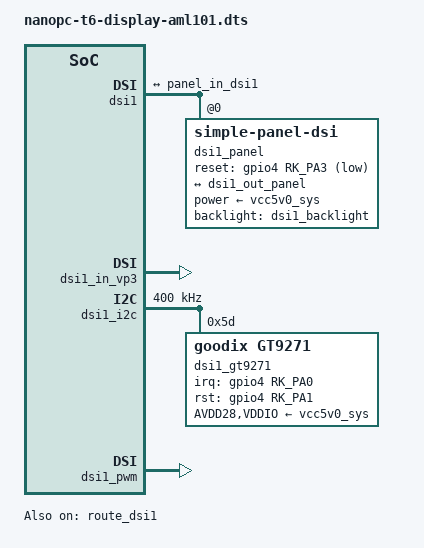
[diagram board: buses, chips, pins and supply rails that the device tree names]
/dts-v1/;
/plugin/;

#include <dt-bindings/interrupt-controller/irq.h>
#include <dt-bindings/gpio/gpio.h>
#include <dt-bindings/pinctrl/rockchip.h>
#include <dt-bindings/display/drm_mipi_dsi.h>

/ {
	metadata {
		title = "Enable AML101FD LCD Panel on DSI1";
		compatible = "friendlyelec,nanopc-t6";
		category = "display";
		description = "Enable AML101FD LCD Panel on DSI1";
	};

    fragment@0 {
		target = "/";

        __overlay__ {
            dsi1_backlight: dsi1-backlight {
                compatible = "pwm-backlight";
                brightness-levels = <
                    0  20  20  21  21  22  22  23
                    23  24  24  25  25  26  26  27
                    27  28  28  29  29  30  30  31
                    31  32  32  33  33  34  34  35
                    35  36  36  37  37  38  38  39
                    40  41  42  43  44  45  46  47
                    48  49  50  51  52  53  54  55
                    56  57  58  59  60  61  62  63
                    64  65  66  67  68  69  70  71
                    72  73  74  75  76  77  78  79
                    80  81  82  83  84  85  86  87
                    88  89  90  91  92  93  94  95
                    96  97  98  99 100 101 102 103
                    104 105 106 107 108 109 110 111
                    112 113 114 115 116 117 118 119
                    120 121 122 123 124 125 126 127
                    128 129 130 131 132 133 134 135
                    136 137 138 139 140 141 142 143
                    144 145 146 147 148 149 150 151
                    152 153 154 155 156 157 158 159
                    160 161 162 163 164 165 166 167
                    168 169 170 171 172 173 174 175
                    176 177 178 179 180 181 182 183
                    184 185 186 187 188 189 190 191
                    192 193 194 195 196 197 198 199
                    200 201 202 203 204 205 206 207
                    208 209 210 211 212 213 214 215
                    216 217 218 219 220 221 222 223
                    224 225 226 227 228 229 230 231
                    232 233 234 235 236 237 238 239
                    240 241 242 243 244 245 246 247
                    248 249 250 251 252 253 254 255
                >;
                default-brightness-level = <200>;
                power-supply = <&vcc5v0_sys>;
                pwms = <&dsi1_pwm 0 12000 0>;
                status = "okay";
            };
        };
    };

    fragment@1 {
		target = <&dsi1>;

		__overlay__ {
            status = "okay";

            dsi1_panel: main-panel@0 {
                compatible = "simple-panel-dsi";
                reg = <0>;
                rotation = <270>;
                power-supply = <&vcc5v0_sys>;
                backlight = <&dsi1_backlight>;
                pinctrl-names = "default";
                pinctrl-0 = <&lcd_rst1_gpio>;
                reset-gpios = <&gpio4 RK_PA3 GPIO_ACTIVE_LOW>;
                panel-name = "AML101FDJI4001-CTP";
                reset-delay-ms = <20>;
                enable-delay-ms = <10>;
                prepare-delay-ms = <10>;
                unprepare-delay-ms = <10>;
                disable-delay-ms = <60>;
                init-delay-ms = <200>;
                dsi,flags = <(MIPI_DSI_MODE_VIDEO | MIPI_DSI_MODE_VIDEO_BURST |
                        MIPI_DSI_MODE_LPM | MIPI_DSI_MODE_NO_EOT_PACKET)>;
                dsi,format = <MIPI_DSI_FMT_RGB888>;
                dsi,lanes  = <4>;
                panel-init-sequence = [
                    13 00 02 B0 01
                    13 00 02 C0 26
                    13 00 02 C1 10
                    13 00 02 C2 0E
                    13 00 02 C3 00
                    13 00 02 C4 00
                    13 00 02 C5 23
                    13 00 02 C6 11
                    13 00 02 C7 22
                    13 00 02 C8 20
                    13 00 02 C9 1E
                    13 00 02 CA 1C
                    13 00 02 CB 0C
                    13 00 02 CC 0A
                    13 00 02 CD 08
                    13 00 02 CE 06
                    13 00 02 CF 18
                    13 00 02 D0 02
                    13 00 02 D1 00
                    13 00 02 D2 00
                    13 00 02 D3 00
                    13 00 02 D4 26
                    13 00 02 D5 0F
                    13 00 02 D6 0D
                    13 00 02 D7 00
                    13 00 02 D8 00
                    13 00 02 D9 23
                    13 00 02 DA 11
                    13 00 02 DB 21
                    13 00 02 DC 1F
                    13 00 02 DD 1D
                    13 00 02 DE 1B
                    13 00 02 DF 0B
                    13 00 02 E0 09
                    13 00 02 E1 07
                    13 00 02 E2 05
                    13 00 02 E3 17
                    13 00 02 E4 01
                    13 00 02 E5 00
                    13 00 02 E6 00
                    13 00 02 E7 00
                    13 00 02 B0 03
                    13 00 02 BE 04
                    13 00 02 B9 40
                    13 00 02 CC 88
                    13 00 02 C8 0C
                    13 00 02 C9 07
                    13 00 02 CD 01
                    13 00 02 CA 40
                    13 00 02 CE 1A
                    13 00 02 CF 60
                    13 00 02 D2 08
                    13 00 02 D3 08
                    13 00 02 DB 01
                    13 00 02 D9 06
                    13 00 02 D4 00
                    13 00 02 D5 01
                    13 00 02 D6 04
                    13 00 02 D7 03
                    13 00 02 C2 00
                    13 00 02 C3 0E
                    13 00 02 C4 00
                    13 00 02 C5 0E
                    13 00 02 DD 00
                    13 00 02 DE 0E
                    13 00 02 E6 00
                    13 00 02 E7 0E
                    13 00 02 C2 00
                    13 00 02 C3 0E
                    13 00 02 C4 00
                    13 00 02 C5 0E
                    13 00 02 DD 00
                    13 00 02 DE 0E
                    13 00 02 E6 00
                    13 00 02 E7 0E
                    13 00 02 B0 06
                    13 00 02 C0 A5
                    13 00 02 D5 1C
                    13 00 02 C0 00
                    13 00 02 B0 00
                    13 00 02 BD 30
                    13 00 02 F9 5C
                    13 00 02 C2 14
                    13 00 02 C4 14
                    13 00 02 BF 15
                    13 00 02 C0 0C
                    13 00 02 B0 00
                    13 00 02 B1 79
                    13 00 02 BA 8F
                    05 C8 01 11
                    05 32 01 29
                ];
                panel-exit-sequence = [
                    05 00 01 28
                    05 00 01 10
                ];
                display-timings {
                    native-mode = <&dsi1_timing0>;
                    dsi1_timing0: timing0 {
                        clock-frequency = <159400000>;
                        hactive = <1200>;
                        vactive = <1920>;
                        hfront-porch = <80>;
                        hsync-len = <1>;
                        hback-porch = <60>;
                        vfront-porch = <35>;
                        vsync-len = <1>;
                        vback-porch = <25>;
                        hsync-active = <0>;
                        vsync-active = <0>;
                        de-active = <0>;
                        pixelclk-active = <1>;
                    };
                };
                ports {
                    #address-cells = <1>;
                    #size-cells = <0>;
                    port@0 {
                        reg = <0>;
                        panel_in_dsi1: endpoint {
                            remote-endpoint = <&dsi1_out_panel>;
                        };
                    };
                };
            };
        
            ports {
                #address-cells = <1>;
                #size-cells = <0>;
        
                dsi1_out: port@1 {
                    reg = <1>;
                    dsi1_out_panel: endpoint {
                        remote-endpoint = <&panel_in_dsi1>;
                    };
                };
            };
        };
    };

    fragment@2 {
		target = <&dsi1_in_vp2>;

		__overlay__ {
			status = "disabled";
		};
	};

	fragment@3 {
		target = <&dsi1_in_vp3>;

		__overlay__ {
			status = "okay";
		};
	};

    fragment@4 {
		target = <&dsi1_i2c>;

		__overlay__ {
            clock-frequency = <400000>;
            status = "okay";

            dsi1_gt9271: dsi1-gt9271@5d {
                compatible = "goodix,gt9271";
                reg = <0x5d>;
                AVDD28-supply = <&vcc5v0_sys>;
                VDDIO-supply = <&vcc5v0_sys>;
                pinctrl-names = "default";
                pinctrl-0 = <&touch_dsi1_gpio>;
                interrupts = <RK_PA0 IRQ_TYPE_EDGE_FALLING>;
                interrupt-parent = <&gpio4>;
                irq-gpio = <&gpio4 RK_PA0 IRQ_TYPE_EDGE_FALLING>;
                rst-gpio = <&gpio4 RK_PA1 GPIO_ACTIVE_HIGH>;
                touchscreen-size-x = <1200>;
                touchscreen-size-y = <1920>;
                // touchscreen-inverted-x;
                // touchscreen-inverted-y;
                touchscreen-swapped-x-y;
                status = "okay";
            };
        };
    };

    fragment@5 {
		target = <&dsi1_pwm>;

		__overlay__ {
            status = "okay";
		};
	};

    fragment@6 {
		target = <&route_dsi1>;

		__overlay__ {
            status = "okay";
            connect = <&vp3_out_dsi1>;
		};
	};
};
